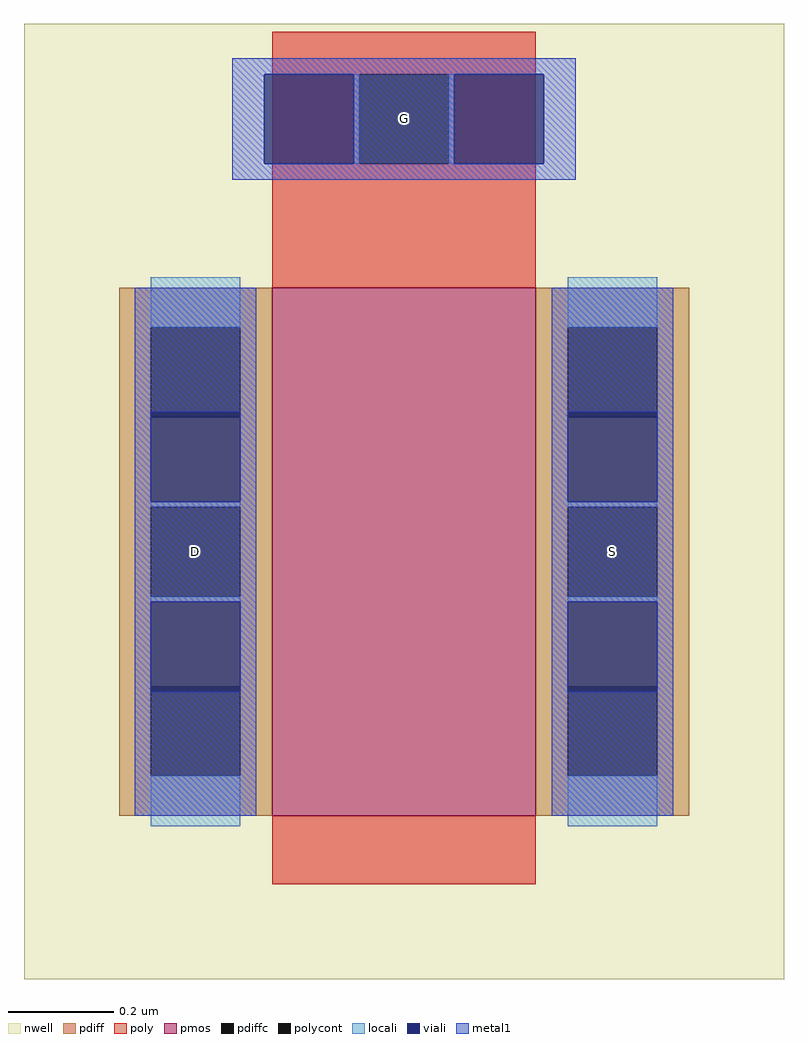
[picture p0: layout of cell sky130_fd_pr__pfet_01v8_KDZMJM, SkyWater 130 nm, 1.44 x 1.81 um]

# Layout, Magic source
magic
tech sky130B
magscale 1 2
<< nwell >>
rect -144 -198 144 164
<< pmos >>
rect -50 -136 50 64
<< pdiff >>
rect -108 49 -50 64
rect -108 15 -96 49
rect -62 15 -50 49
rect -108 -19 -50 15
rect -108 -53 -96 -19
rect -62 -53 -50 -19
rect -108 -87 -50 -53
rect -108 -121 -96 -87
rect -62 -121 -50 -87
rect -108 -136 -50 -121
rect 50 49 108 64
rect 50 15 62 49
rect 96 15 108 49
rect 50 -19 108 15
rect 50 -53 62 -19
rect 96 -53 108 -19
rect 50 -87 108 -53
rect 50 -121 62 -87
rect 96 -121 108 -87
rect 50 -136 108 -121
<< pdiffc >>
rect -96 15 -62 49
rect -96 -53 -62 -19
rect -96 -121 -62 -87
rect 62 15 96 49
rect 62 -53 96 -19
rect 62 -121 96 -87
<< poly >>
rect -50 145 50 161
rect -50 111 -17 145
rect 17 111 50 145
rect -50 64 50 111
rect -50 -162 50 -136
<< polycont >>
rect -17 111 17 145
<< locali >>
rect -19 111 -17 145
rect 17 111 19 145
rect -96 49 -62 68
rect -96 -19 -62 -17
rect -96 -55 -62 -53
rect -96 -140 -62 -121
rect 62 49 96 68
rect 62 -19 96 -17
rect 62 -55 96 -53
rect 62 -140 96 -121
<< viali >>
rect -53 111 -19 145
rect 19 111 53 145
rect -96 15 -62 17
rect -96 -17 -62 15
rect -96 -87 -62 -55
rect -96 -89 -62 -87
rect 62 15 96 17
rect 62 -17 96 15
rect 62 -87 96 -55
rect 62 -89 96 -87
<< metal1 >>
rect -65 145 65 151
rect -65 111 -53 145
rect -19 111 19 145
rect 53 111 65 145
rect -65 105 65 111
rect -102 17 -56 64
rect -102 -17 -96 17
rect -62 -17 -56 17
rect -102 -55 -56 -17
rect -102 -89 -96 -55
rect -62 -89 -56 -55
rect -102 -136 -56 -89
rect 56 17 102 64
rect 56 -17 62 17
rect 96 -17 102 17
rect 56 -55 102 -17
rect 56 -89 62 -55
rect 96 -89 102 -55
rect 56 -136 102 -89
<< labels >>
rlabel locali s 0 128 0 128 4 G
rlabel locali s 79 -36 79 -36 4 S
rlabel locali s -79 -36 -79 -36 4 D
<< end >>
